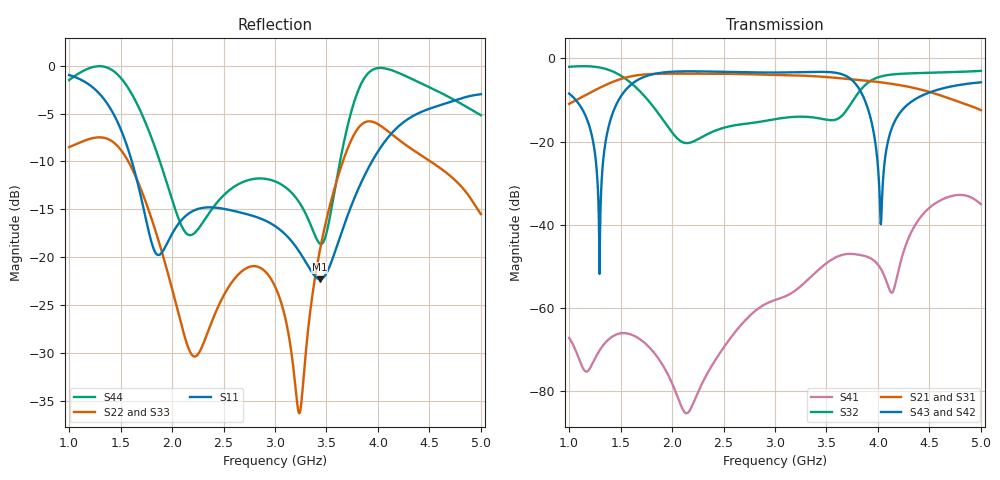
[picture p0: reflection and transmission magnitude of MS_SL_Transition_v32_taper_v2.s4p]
! TOUCHSTONE file generated by CST MICROWAVE STUDIO
! Date and time: Tue Aug  6 17:36:53 2024
! Project name: MS_SL_Transition_v32_taper_v2.cst
! Parameters = {F=14; HS=0.8; LP=10; LP_ext=12.5986; LS=80; L_PH_max=67.9371; L_PH_min=44.695; Lm=19.27; Lmm=19.8; MT=0.0175; PH_i=10; PH_o=50; PH_r=0.5; Rad_L=18.25; Rad_L1=18.25; SL_Stub_Rotate=0; Theta_L0=0.29; Theta_L3=3.328; WP=2.27; WS=120; WS_ext=9.84172; W_PH_max=0.105; W_PH_min=-2.165; W_SL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
! Header version: 2018
! Port assignment regex: !\s*Touchstone port\s*([0-9]+)\s*=\s*(CST MWS port|CST DS port)\s*([0-9]+|Zmin|Zmax)\s*\(\"(.*)\"\)(\s*mode\s*([0-9]+))?.*
! Touchstone port assignment:
! Touchstone port 1 = CST MWS port 1 ("")
! Touchstone port 2 = CST MWS port 2 ("")
! Touchstone port 3 = CST MWS port 3 ("")
! Touchstone port 4 = CST MWS port 4 ("")
# GHz S MA R 50
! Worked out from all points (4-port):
!   1030 points, 1 GHz to 5 GHz, reference 50 ohm
!   strongest paths, dB at 1 GHz, 2.008 GHz, 3 GHz, 3.988 GHz, 5 GHz:
!     S43: -8.5, -3.2, -3.4, -22.9, -5.8
!     S42: -8.5, -3.2, -3.4, -22.8, -5.7
!     S21: -10.9, -3.7, -4.0, -5.7, -12.5
!     S31: -10.9, -3.7, -4.0, -5.7, -12.4
!     S32: -2.0, -18.0, -14.6, -4.7, -3.0
!     S41: -67.1, -78.5, -58.1, -49.2, -35.0
!   lowest |S11| = -22.3 dB at 3.436 GHz (marker M1), VSWR 1.17, Z = 43.7 - j3.52 ohm
!   |S11| at or under -10 dB: 1.61 GHz to 3.942 GHz (2.332 GHz wide, 84 % of centre)
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1  0.8938 -16.4  0.2835 -88.9  0.2836 91.2  0.0004389 142.2
   0.2835 -88.9  0.3758 80.5  0.7913 176.3  0.3771 -159.8
   0.2836 91.2  0.7913 176.3  0.3755 80.6  0.3774 -159.8
   0.0004395 142.3  0.3771 -159.8  0.3774 -159.8  0.8417 70.0
1.296  0.7128 -93.0  0.4415 -162.0  0.4409 18.0  0.0003026 168.9
       0.4415 -162.0  0.4227 30.7  0.775 102.5  0.003167 -122.4
       0.441 18.0  0.7751 102.5  0.4232 30.9  0.002572 -122.8
       0.0003106 168.8  0.003167 -122.4  0.002571 -122.8  0.9944 12.1
1.652  0.2611 -171.8  0.6224 100.2  0.6214 -79.8  0.0004516 69.2
       0.6224 100.2  0.2599 -53.6  0.4438 -3.1  0.5352 -133.2
       0.6214 -79.8  0.4438 -3.1  0.261 -53.5  0.5357 -133.1
       0.0004509 69.2  0.5352 -133.2  0.5357 -133.1  0.6439 -64.1
2.404  0.1819 153.2  0.6519 -86.6  0.6508 93.4  0.0002213 143.5
       0.6519 -86.6  0.04872 75.7  0.1327 68.3  0.6902 96.6
       0.6508 93.4  0.1327 68.3  0.04849 75.1  0.6909 96.6
       0.0002211 143.2  0.6902 96.6  0.6909 96.6  0.1834 -57.6
3.436  0.07674 -148.5  0.6031 36.6  0.603 -143.8  0.002981 -40.4
       0.6031 36.6  0.1088 36.9  0.1892 -95.6  0.686 -50.9
       0.603 -143.8  0.1892 -95.6  0.1091 36.0  0.6873 -51.1
       0.002981 -40.4  0.686 -50.9  0.6873 -51.1  0.1178 139.5
4.028  0.3757 -9.5  0.5141 -100.1  0.5102 79.4  0.00296 175.5
       0.5141 -100.1  0.4848 -110.7  0.6044 -169.4  0.01101 -121.9
       0.5102 79.4  0.6044 -169.4  0.4811 -110.9  0.01017 -123.7
       0.002962 175.6  0.01102 -121.9  0.01017 -123.8  0.9734 -96.4
5  0.7097 86.3  0.238 30.2  0.2395 -150.4  0.0177 -30.5
   0.238 30.2  0.1681 130.2  0.7054 0.2  0.5207 172.4
   0.2395 -150.4  0.7054 0.2  0.1687 130.0  0.5145 171.3
   0.0177 -30.5  0.5207 172.4  0.5145 171.3  0.5512 148.1
